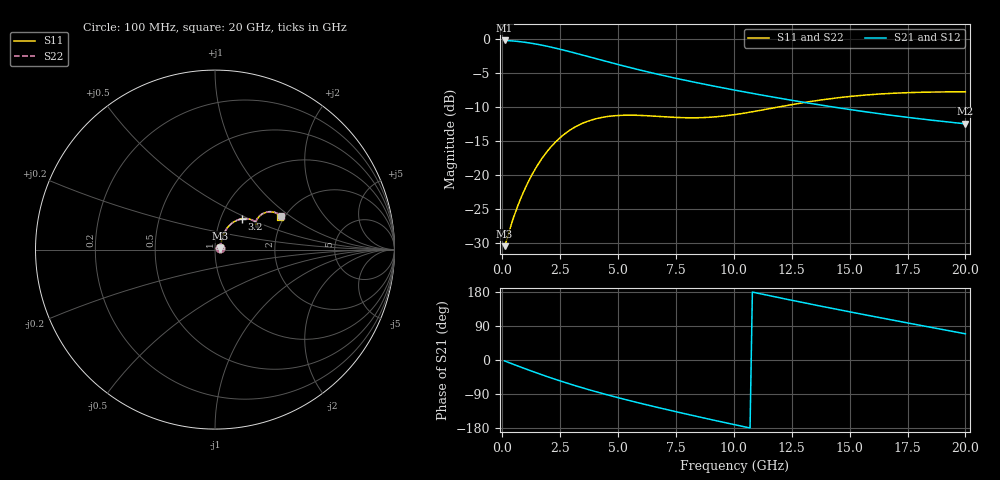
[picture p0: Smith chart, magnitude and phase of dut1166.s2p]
! Touchstone file exported from HFSS 2024.1.0
!  File:  C:/UserFiles/LocalFiles/RDL_TSV_Batchsim/temp_RDL_TSV_1166_1780122057.aedt
!  Generated:  02:39:09 PM May 30, 2026
!  Design:  RDL_TSV
!  Project:  temp_RDL_TSV_1166_1780122057
!  Setup:  Setup1
!  Solution:  Sweep
! Variables:
!  dtsv = 9.59um
!  hbump = 3um
!  htsv = 71.57um
!  ldown = 698.01um
!  lrdl = 575.75um
!  p = 40
!  p1 = 48.49um
!  rhole = 10um
!  subl = 4397.03um
!  t = 450um
!  tdown = 3.88um
!  trdl = 2.92um
!  viad = 10um
!  wdown = 24.03um
!  wrdl = 13.34um
!  xbump = 18um
# GHz S MA R 50.000000
! Terminal data exported
! Port[1] = TM1_1_T1
! Port[2] = TM1_4_T1
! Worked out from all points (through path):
!   200 points, 100 MHz to 20 GHz, reference 50 ohm
!   highest |S21| = -0.26 dB at 100 MHz (marker M1); lowest = -12.5 dB at 20 GHz (marker M2)
!   group delay of S21, straight-line fit = 38.5 ps
!   lowest |S11| = -30.5 dB at 100 MHz (marker M3), VSWR 1.06, Z = 53 + j0.846 ohm
!   |S11| at or under -10 dB: start of sweep to 11.97 GHz
!   |S22| runs from -30.5 to -7.8 dB; largest |S21 - S12| = 9.2e-15
!   S11 on the Smith chart (normalised r, x): 100 MHz: 1.06, +0.02; 3.2 GHz: 1.26, +0.46; 20 GHz: 1.90, +0.84
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0.1  0.03003 15.4  0.9709 -2.4  0.9709 -2.4  0.03003 15.4
! Gamma 0 0 0 0
! Port Impedance 50 0 50 0
0.5  0.04945 46.4  0.9613 -11.9  0.9613 -11.9  0.04945 46.4
0.8  0.06742 55.3  0.9499 -18.8  0.9499 -18.8  0.06743 55.3
1.1  0.08746 59.6  0.9351 -25.6  0.9351 -25.6  0.08745 59.6
1.5  0.1164 61.3  0.911 -34.4  0.911 -34.4  0.1163 61.2
1.9  0.1461 60.1  0.883 -43.0  0.883 -43.0  0.146 60.0
2.3  0.1747 57.3  0.8525 -51.2  0.8525 -51.2  0.1746 57.3
2.7  0.2006 53.7  0.8205 -59.2  0.8205 -59.2  0.2005 53.7
3.2  0.2277 48.8  0.7801 -68.6  0.7801 -68.6  0.2275 48.8
3.5  0.2408 45.9  0.7561 -74.1  0.7561 -74.1  0.2405 45.8
4.3  0.2643 38.7  0.6951 -88.0  0.6951 -88.0  0.2638 38.7
5.1  0.2737 33.1  0.6401 -101.0  0.6401 -101.0  0.2732 33.1
5.9  0.2739 29.5  0.5916 -113.3  0.5916 -113.3  0.2732 29.5
6.8  0.2687 27.7  0.5444 -126.5  0.5444 -126.5  0.268 27.7
8.4  0.2629 29.7  0.4755 -148.9  0.4755 -148.9  0.2623 29.8
10.1  0.2783 34.5  0.4176 -171.6  0.4176 -171.6  0.278 34.7
11.8  0.3124 37.0  0.3702 166.4  0.3702 166.4  0.3127 37.2
13.4  0.3478 36.3  0.3332 146.5  0.3332 146.5  0.3485 36.5
15  0.3768 33.9  0.3023 127.1  0.3023 127.1  0.3778 34.1
16.7  0.3964 30.9  0.2755 107.1  0.2755 107.1  0.3977 31.0
18.3  0.4052 28.5  0.2551 88.6  0.2551 88.6  0.4067 28.6
20  0.4077 26.8  0.2375 69.1  0.2375 69.1  0.4094 26.9
